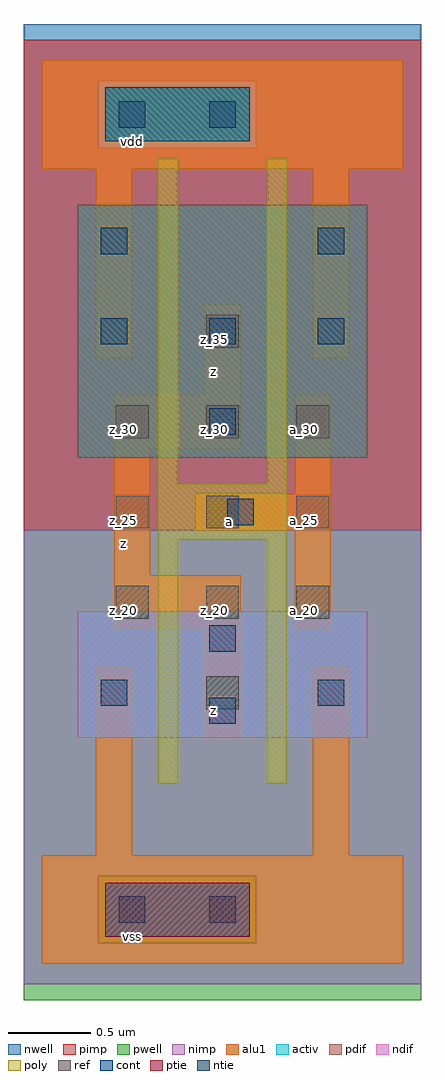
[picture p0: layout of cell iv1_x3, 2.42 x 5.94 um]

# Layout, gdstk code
import gdstk
lib = gdstk.Library(unit=1e-6, precision=2.5e-09)
def R(c, l, rs):  # rectangles x0, y0, x1, y1
    for r in rs: c.add(gdstk.rectangle(r[:2], r[2:], *l))
def A(c, l, x, y, w, h, nx, ny, dx, dy):  # array of equal rectangles
    R(c, l, [(x+i*dx, y+j*dy, x+i*dx+w, y+j*dy+h) for i in range(nx) for j in range(ny)])
ndif = (3, 0)
pdif = (4, 0)
ntie = (5, 0)
ptie = (6, 0)
ref = (24, 0)
cont = (25, 0)
pwell = (41, 0)
nwell = (42, 0)
activ = (43, 0)
pimp = (44, 0)
nimp = (45, 0)
poly = (46, 0)
alu1 = (49, 0)

iv1_x3 = lib.new_cell('iv1_x3')
R(iv1_x3, ndif, [(0.22,1.375,1.98,2.145)])
R(iv1_x3, pdif, [(0.22,3.08,1.98,4.62)])
R(iv1_x3, ntie, [(0.385,5.005,1.265,5.335)])
R(iv1_x3, ptie, [(0.385,0.165,1.265,0.495)])
A(iv1_x3, ref, 0.45, 2.1, 0.2, 0.2, 3, 3, 0.55, 0.55)
R(iv1_x3, ref, [(1,1.55,1.2,1.75), (1,3.75,1.2,3.95)])
A(iv1_x3, cont, 0.36, 3.77, 0.16, 0.16, 3, 1, 0.66, 0)
R(iv1_x3, cont, [(0.47,0.25,0.63,0.41), (1.02,0.25,1.18,0.41), (1.02,1.46,1.18,1.62), (0.36,1.57,0.52,1.73), (1.68,1.57,1.84,1.73), (1.02,1.9,1.18,2.06), (1.13,2.67,1.29,2.83), (1.02,3.22,1.18,3.38), (0.36,4.32,0.52,4.48), (1.68,4.32,1.84,4.48), (0.47,5.09,0.63,5.25), (1.02,5.09,1.18,5.25)])
R(iv1_x3, pwell, [(-0.11,-0.22,2.31,2.64)])
R(iv1_x3, nwell, [(-0.11,2.64,2.31,5.72)])
R(iv1_x3, activ, [(0.385,0.165,1.265,0.495), (0.22,1.375,1.98,2.145), (0.22,3.08,1.98,4.62), (0.385,5.005,1.265,5.335)])
R(iv1_x3, pimp, [(0.345,0.125,1.305,0.535), (-0.11,2.64,2.31,4.965), (-0.11,4.965,0.345,5.375), (1.305,4.965,2.31,5.375), (-0.11,5.375,2.31,5.625)])
R(iv1_x3, nimp, [(-0.11,-0.125,2.31,0.125), (-0.11,0.125,0.345,0.535), (1.305,0.125,2.31,0.535), (-0.11,0.535,2.31,2.64), (0.345,4.965,1.305,5.375)])
R(iv1_x3, poly, [(0.71,1.095,0.83,2.58), (1.37,1.095,1.49,2.58), (0.71,2.58,1.49,2.92), (0.71,2.92,0.83,4.9), (1.37,2.92,1.49,4.9)])
R(iv1_x3, alu1, [(0,0,2.2,0.66), (0.33,0.66,0.55,1.815), (1.65,0.66,1.87,1.815), (0.99,1.375,1.21,2.035), (0.44,2.035,1.21,2.365), (1.54,2.035,1.76,2.64), (0.44,2.365,0.66,3.135), (0.935,2.64,1.76,2.86), (1.54,2.86,1.76,3.465), (0.44,3.135,1.21,3.465), (0.99,3.465,1.21,4.015), (0.33,3.685,0.55,4.84), (1.65,3.685,1.87,4.84), (0,4.84,2.2,5.5)])
iv1_x3.add(gdstk.Label('vss', (0.55,0.165), layer=49, texttype=0))
iv1_x3.add(gdstk.Label('z', (1.045,1.54), layer=49, texttype=0))
iv1_x3.add(gdstk.Label('a', (1.14,2.695), layer=49, texttype=0))
iv1_x3.add(gdstk.Label('z', (0.495,2.5575), layer=49, texttype=0))
iv1_x3.add(gdstk.Label('z', (1.045,3.6025), layer=49, texttype=0))
iv1_x3.add(gdstk.Label('vdd', (0.55,5.005), layer=49, texttype=0))
iv1_x3.add(gdstk.Label('z_25', (0.5,2.7), layer=24, texttype=0))
iv1_x3.add(gdstk.Label('z_30', (1.05,3.25), layer=24, texttype=0))
iv1_x3.add(gdstk.Label('z_15', (1.05,1.6), layer=24, texttype=0))
iv1_x3.add(gdstk.Label('z_20', (1.05,2.15), layer=24, texttype=0))
iv1_x3.add(gdstk.Label('z_20', (0.5,2.15), layer=24, texttype=0))
iv1_x3.add(gdstk.Label('z_30', (0.5,3.25), layer=24, texttype=0))
iv1_x3.add(gdstk.Label('z_35', (1.05,3.8), layer=24, texttype=0))
iv1_x3.add(gdstk.Label('a_25', (1.05,2.7), layer=24, texttype=0))
iv1_x3.add(gdstk.Label('a_20', (1.6,2.15), layer=24, texttype=0))
iv1_x3.add(gdstk.Label('a_25', (1.6,2.7), layer=24, texttype=0))
iv1_x3.add(gdstk.Label('a_30', (1.6,3.25), layer=24, texttype=0))

lib.write_gds('iv1_x3.gds')
